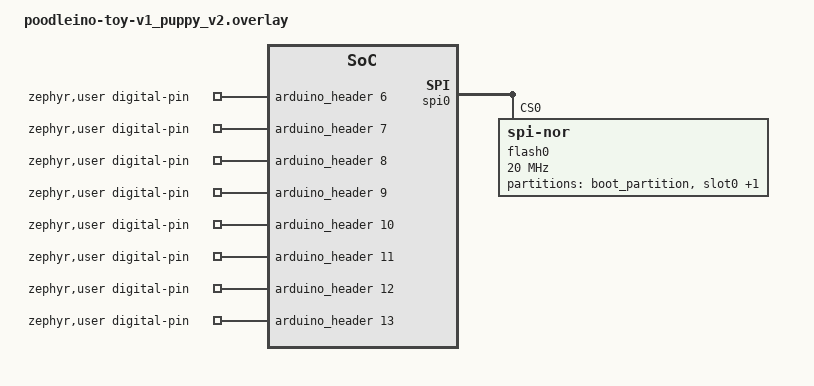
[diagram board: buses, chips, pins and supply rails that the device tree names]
/delete-node/ &flash0;

/ {
	zephyr,user {
		digital-pin-gpios =	<&arduino_header 6 GPIO_ACTIVE_HIGH>,
						<&arduino_header 7 GPIO_ACTIVE_HIGH>,
						<&arduino_header 8 GPIO_ACTIVE_HIGH>,
						<&arduino_header 9 GPIO_ACTIVE_HIGH>,
						<&arduino_header 10 GPIO_ACTIVE_HIGH>,
						<&arduino_header 11 GPIO_ACTIVE_HIGH>,
						<&arduino_header 12 GPIO_ACTIVE_HIGH>,
						<&arduino_header 13 GPIO_ACTIVE_HIGH>,
						<&arduino_header 14 GPIO_ACTIVE_HIGH>,
						<&arduino_header 15 GPIO_ACTIVE_HIGH>,
						<&arduino_header 16 GPIO_ACTIVE_HIGH>,
						<&arduino_header 17 GPIO_ACTIVE_HIGH>,
						<&arduino_header 18 GPIO_ACTIVE_HIGH>,
						<&arduino_header 19 GPIO_ACTIVE_HIGH>,
						<&arduino_header 20 GPIO_ACTIVE_HIGH>,
						<&arduino_header 21 GPIO_ACTIVE_HIGH>,
						<&gpio0 23 GPIO_ACTIVE_HIGH>;

		serials = <&uart0>;
		i2cs = <&i2c0>;
		spis = <&spi0>;
	};
};

&spi0 {
    flash0: flash@0 {
        compatible = "jedec,spi-nor";
        reg = <0>;
        spi-max-frequency = <20000000>;
        size = <DT_SIZE_M(8)>;
        status = "okay";

        partitions {
            compatible = "fixed-partitions";
            #size-cells = <1>;
            #address-cells = <1>;

            boot_partition: partition@0 {
                reg = <0 0x20000>;
                label = "boot_partition";
                read-only;
            };

            slot0_partition: partition@20000 {
                reg = <0x20000 0x2E000>;
                label = "slot0";
            };

            user_sketch: partition@4E000 {
                reg = <0x4E000 0x12000>;
				label = "user_sketch";
            };
        };
    };
};
